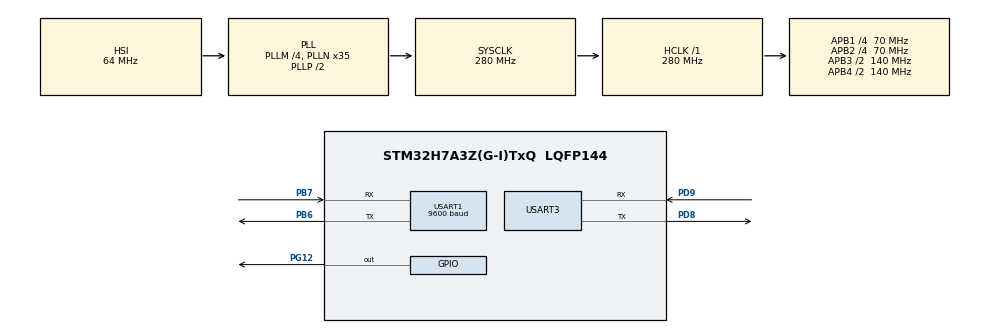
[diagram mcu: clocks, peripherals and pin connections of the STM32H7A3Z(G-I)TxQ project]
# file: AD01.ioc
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CORTEX_M7.CPU_DCache=Enabled
CORTEX_M7.CPU_ICache=Enabled
Mcu.Family=STM32H7
Mcu.Name=STM32H7A3Z(G-I)TxQ
Mcu.Package=LQFP144
NVIC.PriorityGroup=NVIC_PRIORITYGROUP_4
NVIC.USART1_IRQn=true\:0\:0\:false\:false\:true\:true\:true\:true
NVIC.USART3_IRQn=true\:0\:0\:false\:false\:true\:true\:true\:true
PB6.Mode=Asynchronous
PB6.Signal=USART1_TX
PB7.Mode=Asynchronous
PB7.Signal=USART1_RX
PD8.Mode=Asynchronous
PD8.Signal=USART3_TX
PD9.Mode=Asynchronous
PD9.Signal=USART3_RX
PG12.Signal=GPIO_Output
ProjectManager.HeapSize=0x800
ProjectManager.StackSize=0x800
ProjectManager.TargetToolchain=STM32CubeIDE
RCC.ADCFreq_Value=129000000
RCC.APB1Freq_Value=70000000
RCC.APB2Freq_Value=70000000
RCC.APB3Freq_Value=140000000
RCC.APB4Freq_Value=140000000
RCC.CDPPRE=RCC_APB3_DIV2
RCC.CDPPRE1=RCC_APB1_DIV4
RCC.CDPPRE2=RCC_APB2_DIV4
RCC.CortexFreq_Value=280000000
RCC.DIVM1=4
RCC.DIVM3=1
RCC.DIVN1=35
RCC.DIVN3=24
RCC.DIVQ1=8
RCC.DIVQ3=4
RCC.HCLKFreq_Value=280000000
RCC.HSE_VALUE=8000000
RCC.PLLFRACN=0
RCC.PWR_Regulator_Voltage_Scale=PWR_REGULATOR_VOLTAGE_SCALE0
RCC.SRDPPRE=RCC_APB4_DIV2
RCC.SYSCLKFreq_VALUE=280000000
RCC.SYSCLKSource=RCC_SYSCLKSOURCE_PLLCLK
RCC.SupplySource=PWR_DIRECT_SMPS_SUPPLY
RCC.USBCLockSelection=RCC_USBCLKSOURCE_PLL3
RCC.USBFreq_Value=384000000
RCC.VDD_VALUE=3
STMicroelectronics.X-CUBE-AI.8.1.0.ActivationBufferSizeList=6544
STMicroelectronics.X-CUBE-AI.8.1.0.ActivationBuffers=pool1
STMicroelectronics.X-CUBE-AI.8.1.0.ActivationNames=pool1
STMicroelectronics.X-CUBE-AI.8.1.0.ActivationPragmas=AI_DTCMRAM
STMicroelectronics.X-CUBE-AI.8.1.0.ActivationSizes=AI_NETWORK_DATA_ACTIVATION_1_SIZE
STMicroelectronics.X-CUBE-AI.8.1.0.HeapSize=0x800
STMicroelectronics.X-CUBE-AI.8.1.0.InternalRamActivationBufferMaxSize=AI_NETWORK_DATA_ACTIVATIONS_SIZE
STMicroelectronics.X-CUBE-AI.8.1.0.LatestDirectoryUsed-0e8af8a766287249458a08926f8e15159aeaac6e967707b8cc81be54f392774d=/home/fred/Desktop/tiny_results_v1.1/closed/STMicroelectronics/code/NUCLEO_H7A3ZI_Q/anomaly_detection
STMicroelectronics.X-CUBE-AI.8.1.0.MaximumNumberOfInputLayer=1
STMicroelectronics.X-CUBE-AI.8.1.0.MaximumNumberOfOutputLayer=1
STMicroelectronics.X-CUBE-AI.8.1.0.MaximumSizeOfInputLayer=1
STMicroelectronics.X-CUBE-AI.8.1.0.MaximumSizeOfOutputLayer=1
STMicroelectronics.X-CUBE-AI.8.1.0.ModelActualCompression-0e8af8a766287249458a08926f8e15159aeaac6e967707b8cc81be54f392774d=0.0
STMicroelectronics.X-CUBE-AI.8.1.0.ModelCompression-0e8af8a766287249458a08926f8e15159aeaac6e967707b8cc81be54f392774d=None
STMicroelectronics.X-CUBE-AI.8.1.0.ModelFlashOccupation-0e8af8a766287249458a08926f8e15159aeaac6e967707b8cc81be54f392774d=287057
STMicroelectronics.X-CUBE-AI.8.1.0.ModelHashList=0e8af8a766287249458a08926f8e15159aeaac6e967707b8cc81be54f392774d
STMicroelectronics.X-CUBE-AI.8.1.0.ModelKind-0e8af8a766287249458a08926f8e15159aeaac6e967707b8cc81be54f392774d=TFLITE
STMicroelectronics.X-CUBE-AI.8.1.0.ModelMacc-0e8af8a766287249458a08926f8e15159aeaac6e967707b8cc81be54f392774d=265864
STMicroelectronics.X-CUBE-AI.8.1.0.ModelName-0e8af8a766287249458a08926f8e15159aeaac6e967707b8cc81be54f392774d=network
STMicroelectronics.X-CUBE-AI.8.1.0.ModelNameList=network
STMicroelectronics.X-CUBE-AI.8.1.0.ModelRamOccupation-0e8af8a766287249458a08926f8e15159aeaac6e967707b8cc81be54f392774d=6544
STMicroelectronics.X-CUBE-AI.8.1.0.ModelStructureFile-0e8af8a766287249458a08926f8e15159aeaac6e967707b8cc81be54f392774d=ad01_int8.tflite
STMicroelectronics.X-CUBE-AI.8.1.0.ModelType-0e8af8a766287249458a08926f8e15159aeaac6e967707b8cc81be54f392774d=STM32Cube.AI runtime
STMicroelectronics.X-CUBE-AI.8.1.0.ReadyForCodeGeneration=true
STMicroelectronics.X-CUBE-AI.8.1.0.StackSize=0x800
STMicroelectronics.X-CUBE-AI.8.1.0.WorkingBufferStartAddrList=0xFFFFFFFF
STMicroelectronics.X-CUBE-AI.8.1.0.XAaCUBEAaAICcArtificialOoIntelligenceJjCore=true
STMicroelectronics.X-CUBE-AI.8.1.0.copyWeightToRam-0e8af8a766287249458a08926f8e15159aeaac6e967707b8cc81be54f392774d=false
STMicroelectronics.X-CUBE-AI.8.1.0.customLayerConfigEnabled-0e8af8a766287249458a08926f8e15159aeaac6e967707b8cc81be54f392774d=false
STMicroelectronics.X-CUBE-AI.8.1.0.extraOptions-0e8af8a766287249458a08926f8e15159aeaac6e967707b8cc81be54f392774d=-O time
STMicroelectronics.X-CUBE-AI.8.1.0.memoryPool0driver-0e8af8a766287249458a08926f8e15159aeaac6e967707b8cc81be54f392774d=DTCMRAM
STMicroelectronics.X-CUBE-AI.8.1.0.memoryPool0id-0e8af8a766287249458a08926f8e15159aeaac6e967707b8cc81be54f392774d=0
STMicroelectronics.X-CUBE-AI.8.1.0.memoryPool0max-0e8af8a766287249458a08926f8e15159aeaac6e967707b8cc81be54f392774d=128
STMicroelectronics.X-CUBE-AI.8.1.0.memoryPool0name-0e8af8a766287249458a08926f8e15159aeaac6e967707b8cc81be54f392774d=pool1
STMicroelectronics.X-CUBE-AI.8.1.0.memoryPool0size-0e8af8a766287249458a08926f8e15159aeaac6e967707b8cc81be54f392774d=128
STMicroelectronics.X-CUBE-AI.8.1.0.memoryPool0start-0e8af8a766287249458a08926f8e15159aeaac6e967707b8cc81be54f392774d=Auto
STMicroelectronics.X-CUBE-AI.8.1.0.memoryPool0used-0e8af8a766287249458a08926f8e15159aeaac6e967707b8cc81be54f392774d=2048.0
STMicroelectronics.X-CUBE-AI.8.1.0.memoryPool1driver-0e8af8a766287249458a08926f8e15159aeaac6e967707b8cc81be54f392774d=ITCMRAM
STMicroelectronics.X-CUBE-AI.8.1.0.memoryPool1id-0e8af8a766287249458a08926f8e15159aeaac6e967707b8cc81be54f392774d=-1
STMicroelectronics.X-CUBE-AI.8.1.0.memoryPool1max-0e8af8a766287249458a08926f8e15159aeaac6e967707b8cc81be54f392774d=64
STMicroelectronics.X-CUBE-AI.8.1.0.memoryPool1name-0e8af8a766287249458a08926f8e15159aeaac6e967707b8cc81be54f392774d=pool3
STMicroelectronics.X-CUBE-AI.8.1.0.memoryPool1size-0e8af8a766287249458a08926f8e15159aeaac6e967707b8cc81be54f392774d=64
STMicroelectronics.X-CUBE-AI.8.1.0.memoryPool1start-0e8af8a766287249458a08926f8e15159aeaac6e967707b8cc81be54f392774d=Auto
STMicroelectronics.X-CUBE-AI.8.1.0.memoryPool1used-0e8af8a766287249458a08926f8e15159aeaac6e967707b8cc81be54f392774d=0.0
STMicroelectronics.X-CUBE-AI.8.1.0.memoryPool2driver-0e8af8a766287249458a08926f8e15159aeaac6e967707b8cc81be54f392774d=RAM
STMicroelectronics.X-CUBE-AI.8.1.0.memoryPool2id-0e8af8a766287249458a08926f8e15159aeaac6e967707b8cc81be54f392774d=-1
STMicroelectronics.X-CUBE-AI.8.1.0.memoryPool2max-0e8af8a766287249458a08926f8e15159aeaac6e967707b8cc81be54f392774d=1024
STMicroelectronics.X-CUBE-AI.8.1.0.memoryPool2name-0e8af8a766287249458a08926f8e15159aeaac6e967707b8cc81be54f392774d=pool2
STMicroelectronics.X-CUBE-AI.8.1.0.memoryPool2size-0e8af8a766287249458a08926f8e15159aeaac6e967707b8cc81be54f392774d=1024
STMicroelectronics.X-CUBE-AI.8.1.0.memoryPool2start-0e8af8a766287249458a08926f8e15159aeaac6e967707b8cc81be54f392774d=Auto
STMicroelectronics.X-CUBE-AI.8.1.0.memoryPool2used-0e8af8a766287249458a08926f8e15159aeaac6e967707b8cc81be54f392774d=0.0
STMicroelectronics.X-CUBE-AI.8.1.0.noOnnxIoTranspose-0e8af8a766287249458a08926f8e15159aeaac6e967707b8cc81be54f392774d=false
STMicroelectronics.X-CUBE-AI.8.1.0.optimization-0e8af8a766287249458a08926f8e15159aeaac6e967707b8cc81be54f392774d=time
STMicroelectronics.X-CUBE-AI.8.1.0.useInputAllocation-0e8af8a766287249458a08926f8e15159aeaac6e967707b8cc81be54f392774d=true
STMicroelectronics.X-CUBE-AI.8.1.0.useOutputAllocation-0e8af8a766287249458a08926f8e15159aeaac6e967707b8cc81be54f392774d=true
TIM5.Period=4294967294
TIM5.Prescaler=139
USART1.BaudRate=9600
USART1.VirtualMode-Asynchronous=VM_ASYNC
USART3.VirtualMode-Asynchronous=VM_ASYNC
VP_CRC_VS_CRC.Mode=CRC_Activate
VP_STMicroelectronics.X-CUBE-AI_VS_ArtificialOoIntelligenceJjXAaCUBEAaAI_8.1.0.Mode=ArtificialOoIntelligenceJjXAaCUBEAaAI
VP_TIM5_VS_ClockSourceINT.Mode=Internal
board=NUCLEO-H7A3ZI-Q

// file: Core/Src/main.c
/* USER CODE BEGIN Header */
/**
  ******************************************************************************
  * @file           : main.c
  * @brief          : Main program body
  ******************************************************************************
  * @attention
  *
  * Copyright (c) 2024 STMicroelectronics.
  * All rights reserved.
  *
  * This software is licensed under terms that can be found in the LICENSE file
  * in the root directory of this software component.
  * If no LICENSE file comes with this software, it is provided AS-IS.
  *
  ******************************************************************************
  */
/* USER CODE END Header */
#include "main.h"

/* USER CODE BEGIN Includes */
#include "submitter_implemented.h"
/* USER CODE END Includes */

CRC_HandleTypeDef hcrc;

TIM_HandleTypeDef htim5;

UART_HandleTypeDef huart1;
UART_HandleTypeDef huart3;

void SystemClock_Config(void);
static void MX_GPIO_Init(void);
static void MX_CRC_Init(void);
static void MX_TIM5_Init(void);
static void MX_USART3_UART_Init(void);
static void MX_USART1_UART_Init(void);

int main(void)
{

  /* Enable I-Cache---------------------------------------------------------*/
  SCB_EnableICache();

  /* Enable D-Cache---------------------------------------------------------*/
  SCB_EnableDCache();

  /* MCU Configuration--------------------------------------------------------*/

  /* Reset of all peripherals, Initializes the Flash interface and the Systick. */
  HAL_Init();

  /* Configure the system clock */
  SystemClock_Config();

  /* Initialize all configured peripherals */
    /* USER CODE BEGIN 2 */
    MX_GPIO_Init();
    MX_CRC_Init();
  #if EE_CFG_ENERGY_MODE == 0
    MX_USART3_UART_Init();
  #else
    MX_USART1_UART_Init();
  #endif

  #if EE_CFG_ENERGY_MODE == 0
    __HAL_UART_ENABLE_IT(&huart3,UART_IT_RXNE);
  #else
    __HAL_UART_ENABLE_IT(&huart1,UART_IT_RXNE);
  #endif

    MX_TIM5_Init();
    HAL_TIM_Base_Start(&htim5);
    ee_benchmark_initialize();
    /* USER CODE END 2 */

  /* Infinite loop */
  while (1)
  {

  }
}

void SystemClock_Config(void)
{
  RCC_OscInitTypeDef RCC_OscInitStruct = {0};
  RCC_ClkInitTypeDef RCC_ClkInitStruct = {0};

  /*AXI clock gating */
  RCC->CKGAENR = 0xFFFFFFFF;

  /** Supply configuration update enable
  */
  HAL_PWREx_ConfigSupply(PWR_DIRECT_SMPS_SUPPLY);

  /** Configure the main internal regulator output voltage
  */
  __HAL_PWR_VOLTAGESCALING_CONFIG(PWR_REGULATOR_VOLTAGE_SCALE0);

  while(!__HAL_PWR_GET_FLAG(PWR_FLAG_VOSRDY)) {}

  /** Initializes the RCC Oscillators according to the specified parameters
  * in the RCC_OscInitTypeDef structure.
  */
  RCC_OscInitStruct.OscillatorType = RCC_OSCILLATORTYPE_HSI;
  RCC_OscInitStruct.HSIState = RCC_HSI_DIV1;
  RCC_OscInitStruct.HSICalibrationValue = 64;
  RCC_OscInitStruct.PLL.PLLState = RCC_PLL_ON;
  RCC_OscInitStruct.PLL.PLLSource = RCC_PLLSOURCE_HSI;
  RCC_OscInitStruct.PLL.PLLM = 4;
  RCC_OscInitStruct.PLL.PLLN = 35;
  RCC_OscInitStruct.PLL.PLLP = 2;
  RCC_OscInitStruct.PLL.PLLQ = 8;
  RCC_OscInitStruct.PLL.PLLR = 2;
  RCC_OscInitStruct.PLL.PLLRGE = RCC_PLL1VCIRANGE_3;
  RCC_OscInitStruct.PLL.PLLVCOSEL = RCC_PLL1VCOWIDE;
  RCC_OscInitStruct.PLL.PLLFRACN = 0;
  if (HAL_RCC_OscConfig(&RCC_OscInitStruct) != HAL_OK)
  {
    Error_Handler();
  }

  /** Initializes the CPU, AHB and APB buses clocks
  */
  RCC_ClkInitStruct.ClockType = RCC_CLOCKTYPE_HCLK|RCC_CLOCKTYPE_SYSCLK
                              |RCC_CLOCKTYPE_PCLK1|RCC_CLOCKTYPE_PCLK2
                              |RCC_CLOCKTYPE_D3PCLK1|RCC_CLOCKTYPE_D1PCLK1;
  RCC_ClkInitStruct.SYSCLKSource = RCC_SYSCLKSOURCE_PLLCLK;
  RCC_ClkInitStruct.SYSCLKDivider = RCC_SYSCLK_DIV1;
  RCC_ClkInitStruct.AHBCLKDivider = RCC_HCLK_DIV1;
  RCC_ClkInitStruct.APB3CLKDivider = RCC_APB3_DIV2;
  RCC_ClkInitStruct.APB1CLKDivider = RCC_APB1_DIV4;
  RCC_ClkInitStruct.APB2CLKDivider = RCC_APB2_DIV4;
  RCC_ClkInitStruct.APB4CLKDivider = RCC_APB4_DIV2;

  if (HAL_RCC_ClockConfig(&RCC_ClkInitStruct, FLASH_LATENCY_7) != HAL_OK)
  {
    Error_Handler();
  }
}

static void MX_CRC_Init(void)
{

  hcrc.Instance = CRC;
  hcrc.Init.DefaultPolynomialUse = DEFAULT_POLYNOMIAL_ENABLE;
  hcrc.Init.DefaultInitValueUse = DEFAULT_INIT_VALUE_ENABLE;
  hcrc.Init.InputDataInversionMode = CRC_INPUTDATA_INVERSION_NONE;
  hcrc.Init.OutputDataInversionMode = CRC_OUTPUTDATA_INVERSION_DISABLE;
  hcrc.InputDataFormat = CRC_INPUTDATA_FORMAT_BYTES;
  if (HAL_CRC_Init(&hcrc) != HAL_OK)
  {
    Error_Handler();
  }

}

static void MX_TIM5_Init(void)
{

  TIM_ClockConfigTypeDef sClockSourceConfig = {0};
  TIM_MasterConfigTypeDef sMasterConfig = {0};

  htim5.Instance = TIM5;
  htim5.Init.Prescaler = 139;
  htim5.Init.CounterMode = TIM_COUNTERMODE_UP;
  htim5.Init.Period = 4294967294;
  htim5.Init.ClockDivision = TIM_CLOCKDIVISION_DIV1;
  htim5.Init.AutoReloadPreload = TIM_AUTORELOAD_PRELOAD_DISABLE;
  if (HAL_TIM_Base_Init(&htim5) != HAL_OK)
  {
    Error_Handler();
  }
  sClockSourceConfig.ClockSource = TIM_CLOCKSOURCE_INTERNAL;
  if (HAL_TIM_ConfigClockSource(&htim5, &sClockSourceConfig) != HAL_OK)
  {
    Error_Handler();
  }
  sMasterConfig.MasterOutputTrigger = TIM_TRGO_RESET;
  sMasterConfig.MasterSlaveMode = TIM_MASTERSLAVEMODE_DISABLE;
  if (HAL_TIMEx_MasterConfigSynchronization(&htim5, &sMasterConfig) != HAL_OK)
  {
    Error_Handler();
  }

}

static void MX_USART1_UART_Init(void)
{

  huart1.Instance = USART1;
  huart1.Init.BaudRate = 9600;
  huart1.Init.WordLength = UART_WORDLENGTH_8B;
  huart1.Init.StopBits = UART_STOPBITS_1;
  huart1.Init.Parity = UART_PARITY_NONE;
  huart1.Init.Mode = UART_MODE_TX_RX;
  huart1.Init.HwFlowCtl = UART_HWCONTROL_NONE;
  huart1.Init.OverSampling = UART_OVERSAMPLING_16;
  huart1.Init.OneBitSampling = UART_ONE_BIT_SAMPLE_DISABLE;
  huart1.Init.ClockPrescaler = UART_PRESCALER_DIV1;
  huart1.AdvancedInit.AdvFeatureInit = UART_ADVFEATURE_NO_INIT;
  if (HAL_UART_Init(&huart1) != HAL_OK)
  {
    Error_Handler();
  }
  if (HAL_UARTEx_SetTxFifoThreshold(&huart1, UART_TXFIFO_THRESHOLD_1_8) != HAL_OK)
  {
    Error_Handler();
  }
  if (HAL_UARTEx_SetRxFifoThreshold(&huart1, UART_RXFIFO_THRESHOLD_1_8) != HAL_OK)
  {
    Error_Handler();
  }
  if (HAL_UARTEx_DisableFifoMode(&huart1) != HAL_OK)
  {
    Error_Handler();
  }

}

static void MX_USART3_UART_Init(void)
{

  huart3.Instance = USART3;
  huart3.Init.BaudRate = 115200;
  huart3.Init.WordLength = UART_WORDLENGTH_8B;
  huart3.Init.StopBits = UART_STOPBITS_1;
  huart3.Init.Parity = UART_PARITY_NONE;
  huart3.Init.Mode = UART_MODE_TX_RX;
  huart3.Init.HwFlowCtl = UART_HWCONTROL_NONE;
  huart3.Init.OverSampling = UART_OVERSAMPLING_16;
  huart3.Init.OneBitSampling = UART_ONE_BIT_SAMPLE_DISABLE;
  huart3.Init.ClockPrescaler = UART_PRESCALER_DIV1;
  huart3.AdvancedInit.AdvFeatureInit = UART_ADVFEATURE_NO_INIT;
  if (HAL_UART_Init(&huart3) != HAL_OK)
  {
    Error_Handler();
  }
  if (HAL_UARTEx_SetTxFifoThreshold(&huart3, UART_TXFIFO_THRESHOLD_1_8) != HAL_OK)
  {
    Error_Handler();
  }
  if (HAL_UARTEx_SetRxFifoThreshold(&huart3, UART_RXFIFO_THRESHOLD_1_8) != HAL_OK)
  {
    Error_Handler();
  }
  if (HAL_UARTEx_DisableFifoMode(&huart3) != HAL_OK)
  {
    Error_Handler();
  }

}

static void MX_GPIO_Init(void)
{
  GPIO_InitTypeDef GPIO_InitStruct = {0};

  /* GPIO Ports Clock Enable */
  __HAL_RCC_GPIOE_CLK_ENABLE();
  __HAL_RCC_GPIOC_CLK_ENABLE();
  __HAL_RCC_GPIOF_CLK_ENABLE();
  __HAL_RCC_GPIOH_CLK_ENABLE();
  __HAL_RCC_GPIOA_CLK_ENABLE();
  __HAL_RCC_GPIOB_CLK_ENABLE();
  __HAL_RCC_GPIOD_CLK_ENABLE();
  __HAL_RCC_GPIOG_CLK_ENABLE();

  /*Configure GPIO pin Output Level */
  HAL_GPIO_WritePin(GPIOG, GPIO_PIN_12, GPIO_PIN_RESET);

  /*Configure GPIO pins : PE2 PE3 PE4 PE5
                           PE6 PE7 PE8 PE9
                           PE10 PE11 PE12 PE13
                           PE14 PE15 PE0 PE1 */
  GPIO_InitStruct.Pin = GPIO_PIN_2|GPIO_PIN_3|GPIO_PIN_4|GPIO_PIN_5
                          |GPIO_PIN_6|GPIO_PIN_7|GPIO_PIN_8|GPIO_PIN_9
                          |GPIO_PIN_10|GPIO_PIN_11|GPIO_PIN_12|GPIO_PIN_13
                          |GPIO_PIN_14|GPIO_PIN_15|GPIO_PIN_0|GPIO_PIN_1;
  GPIO_InitStruct.Mode = GPIO_MODE_ANALOG;
  GPIO_InitStruct.Pull = GPIO_NOPULL;
  HAL_GPIO_Init(GPIOE, &GPIO_InitStruct);

  /*Configure GPIO pins : PC13 PC14 PC15 PC0
                           PC1 PC2 PC3 PC4
                           PC5 PC6 PC7 PC8
                           PC9 PC10 PC11 PC12 */
  GPIO_InitStruct.Pin = GPIO_PIN_13|GPIO_PIN_14|GPIO_PIN_15|GPIO_PIN_0
                          |GPIO_PIN_1|GPIO_PIN_2|GPIO_PIN_3|GPIO_PIN_4
                          |GPIO_PIN_5|GPIO_PIN_6|GPIO_PIN_7|GPIO_PIN_8
                          |GPIO_PIN_9|GPIO_PIN_10|GPIO_PIN_11|GPIO_PIN_12;
  GPIO_InitStruct.Mode = GPIO_MODE_ANALOG;
  GPIO_InitStruct.Pull = GPIO_NOPULL;
  HAL_GPIO_Init(GPIOC, &GPIO_InitStruct);

  /*Configure GPIO pins : PF6 PF7 PF8 PF9
                           PF10 PF11 PF14 PF15 */
  GPIO_InitStruct.Pin = GPIO_PIN_6|GPIO_PIN_7|GPIO_PIN_8|GPIO_PIN_9
                          |GPIO_PIN_10|GPIO_PIN_11|GPIO_PIN_14|GPIO_PIN_15;
  GPIO_InitStruct.Mode = GPIO_MODE_ANALOG;
  GPIO_InitStruct.Pull = GPIO_NOPULL;
  HAL_GPIO_Init(GPIOF, &GPIO_InitStruct);

  /*Configure GPIO pins : PH0 PH1 */
  GPIO_InitStruct.Pin = GPIO_PIN_0|GPIO_PIN_1;
  GPIO_InitStruct.Mode = GPIO_MODE_ANALOG;
  GPIO_InitStruct.Pull = GPIO_NOPULL;
  HAL_GPIO_Init(GPIOH, &GPIO_InitStruct);

  /*Configure GPIO pins : PA0 PA1 PA2 PA3
                           PA4 PA5 PA6 PA7
                           PA8 PA9 PA10 PA11
                           PA12 PA13 PA14 PA15 */
  GPIO_InitStruct.Pin = GPIO_PIN_0|GPIO_PIN_1|GPIO_PIN_2|GPIO_PIN_3
                          |GPIO_PIN_4|GPIO_PIN_5|GPIO_PIN_6|GPIO_PIN_7
                          |GPIO_PIN_8|GPIO_PIN_9|GPIO_PIN_10|GPIO_PIN_11
                          |GPIO_PIN_12|GPIO_PIN_13|GPIO_PIN_14|GPIO_PIN_15;
  GPIO_InitStruct.Mode = GPIO_MODE_ANALOG;
  GPIO_InitStruct.Pull = GPIO_NOPULL;
  HAL_GPIO_Init(GPIOA, &GPIO_InitStruct);

  /*Configure GPIO pins : PB0 PB1 PB2 PB10
                           PB11 PB12 PB13 PB14
                           PB15 PB3 PB4 PB5
                           PB8 PB9 */
  GPIO_InitStruct.Pin = GPIO_PIN_0|GPIO_PIN_1|GPIO_PIN_2|GPIO_PIN_10
                          |GPIO_PIN_11|GPIO_PIN_12|GPIO_PIN_13|GPIO_PIN_14
                          |GPIO_PIN_15|GPIO_PIN_3|GPIO_PIN_4|GPIO_PIN_5
                          |GPIO_PIN_8|GPIO_PIN_9;
  GPIO_InitStruct.Mode = GPIO_MODE_ANALOG;
  GPIO_InitStruct.Pull = GPIO_NOPULL;
  HAL_GPIO_Init(GPIOB, &GPIO_InitStruct);

  /*Configure GPIO pins : PD10 PD11 PD12 PD13
                           PD14 PD15 PD0 PD1
                           PD2 PD3 PD4 PD5
                           PD6 PD7 */
  GPIO_InitStruct.Pin = GPIO_PIN_10|GPIO_PIN_11|GPIO_PIN_12|GPIO_PIN_13
                          |GPIO_PIN_14|GPIO_PIN_15|GPIO_PIN_0|GPIO_PIN_1
                          |GPIO_PIN_2|GPIO_PIN_3|GPIO_PIN_4|GPIO_PIN_5
                          |GPIO_PIN_6|GPIO_PIN_7;
  GPIO_InitStruct.Mode = GPIO_MODE_ANALOG;
  GPIO_InitStruct.Pull = GPIO_NOPULL;
  HAL_GPIO_Init(GPIOD, &GPIO_InitStruct);

  /*Configure GPIO pins : PG6 PG7 PG8 PG9
                           PG10 PG11 PG13 PG14 */
  GPIO_InitStruct.Pin = GPIO_PIN_6|GPIO_PIN_7|GPIO_PIN_8|GPIO_PIN_9
                          |GPIO_PIN_10|GPIO_PIN_11|GPIO_PIN_13|GPIO_PIN_14;
  GPIO_InitStruct.Mode = GPIO_MODE_ANALOG;
  GPIO_InitStruct.Pull = GPIO_NOPULL;
  HAL_GPIO_Init(GPIOG, &GPIO_InitStruct);

  /*Configure GPIO pin : PG12 */
  GPIO_InitStruct.Pin = GPIO_PIN_12;
  GPIO_InitStruct.Mode = GPIO_MODE_OUTPUT_PP;
  GPIO_InitStruct.Pull = GPIO_NOPULL;
  GPIO_InitStruct.Speed = GPIO_SPEED_FREQ_LOW;
  HAL_GPIO_Init(GPIOG, &GPIO_InitStruct);

}

void Error_Handler(void)
{
  __disable_irq();
  while (1)
  {
  }
}
